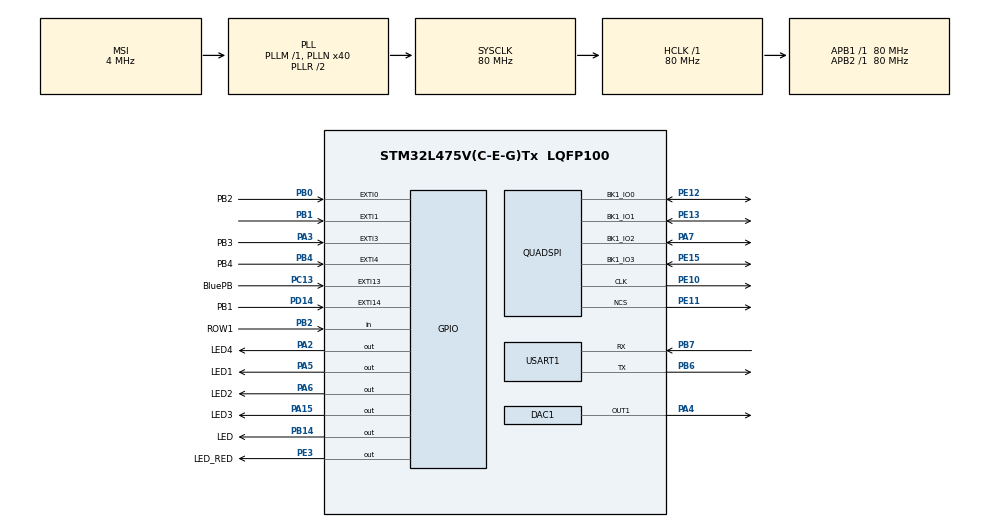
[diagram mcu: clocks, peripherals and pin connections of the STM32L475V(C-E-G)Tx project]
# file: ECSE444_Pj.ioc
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DAC1.DAC_Trigger-DAC_OUT1=DAC_TRIGGER_T2_TRGO
Dma.DAC_CH1.0.Direction=DMA_MEMORY_TO_PERIPH
Dma.DAC_CH1.0.Instance=DMA1_Channel3
Dma.DAC_CH1.0.MemDataAlignment=DMA_MDATAALIGN_BYTE
Dma.DAC_CH1.0.MemInc=DMA_MINC_ENABLE
Dma.DAC_CH1.0.Mode=DMA_CIRCULAR
Dma.DAC_CH1.0.PeriphDataAlignment=DMA_PDATAALIGN_BYTE
Dma.DAC_CH1.0.PeriphInc=DMA_PINC_DISABLE
Dma.DAC_CH1.0.Priority=DMA_PRIORITY_LOW
Dma.Request0=DAC_CH1
FREERTOS.Tasks01=defaultTask,0,128,StartDefaultTask,Default,NULL,Dynamic,NULL,NULL
Mcu.Family=STM32L4
Mcu.Name=STM32L475V(C-E-G)Tx
Mcu.Package=LQFP100
NVIC.DMA1_Channel3_IRQn=true\:5\:0\:false\:false\:true\:true\:false\:true
NVIC.EXTI15_10_IRQn=true\:5\:0\:false\:false\:true\:true\:true\:true
NVIC.PriorityGroup=NVIC_PRIORITYGROUP_4
NVIC.TIM1_TRG_COM_TIM17_IRQn=true\:15\:0\:false\:false\:true\:false\:false\:true
NVIC.TimeBase=TIM1_TRG_COM_TIM17_IRQn
NVIC.TimeBaseIP=TIM17
PA13\ (JTMS-SWDIO).Signal=SYS_JTMS-SWDIO
PA15\ (JTDI).GPIO_Label=LED3
PA15\ (JTDI).Signal=GPIO_Output
PA2.GPIO_Label=LED4
PA2.Signal=GPIO_Output
PA3.GPIO_Label=PB3
PA3.Signal=GPXTI3
PA4.Signal=COMP_DAC11_group
PA5.GPIO_Label=LED1
PA5.Signal=GPIO_Output
PA6.GPIO_Label=LED2
PA6.Signal=GPIO_Output
PA7.Mode=Single Bank
PA7.Signal=QUADSPI_BK1_IO2
PB0.GPIO_Label=PB2
PB0.Signal=GPXTI0
PB1.Signal=GPXTI1
PB14.GPIO_Label=LED
PB14.Signal=GPIO_Output
PB2.GPIO_Label=ROW1
PB2.Signal=GPIO_Input
PB3\ (JTDO-TRACESWO).Signal=SYS_JTDO-SWO
PB4\ (NJTRST).GPIO_Label=PB4
PB4\ (NJTRST).Signal=GPXTI4
PB6.Mode=Asynchronous
PB6.Signal=USART1_TX
PB7.Mode=Asynchronous
PB7.Signal=USART1_RX
PC13.GPIO_Label=BluePB
PC13.Signal=GPXTI13
PD14.GPIO_Label=PB1
PD14.Signal=GPXTI14
PE10.Mode=Single Bank
PE10.Signal=QUADSPI_CLK
PE11.Mode=Single Bank
PE11.Signal=QUADSPI_NCS
PE12.Mode=Single Bank
PE12.Signal=QUADSPI_BK1_IO0
PE13.Mode=Single Bank
PE13.Signal=QUADSPI_BK1_IO1
PE15.Mode=Single Bank
PE15.Signal=QUADSPI_BK1_IO3
PE3.GPIO_Label=LED_RED
PE3.Signal=GPIO_Output
ProjectManager.HeapSize=0x200
ProjectManager.StackSize=0x400
ProjectManager.TargetToolchain=STM32CubeIDE
RCC.ADCFreq_Value=48000000
RCC.AHBFreq_Value=80000000
RCC.APB1Freq_Value=80000000
RCC.APB1TimFreq_Value=80000000
RCC.APB2Freq_Value=80000000
RCC.APB2TimFreq_Value=80000000
RCC.CortexFreq_Value=80000000
RCC.HCLKFreq_Value=80000000
RCC.HSE_VALUE=8000000
RCC.HSI_VALUE=16000000
RCC.LSE_VALUE=32768
RCC.MSI_VALUE=4000000
RCC.PLLN=40
RCC.PLLSAI1N=24
RCC.SYSCLKFreq_VALUE=80000000
RCC.SYSCLKSource=RCC_SYSCLKSOURCE_PLLCLK
RCC.USBFreq_Value=48000000
RCC.VCOOutputFreq_Value=160000000
SH.COMP_DAC11_group.0=DAC1_OUT1,DAC_OUT1
TIM2.Period=1814
TIM2.TIM_MasterOutputTrigger=TIM_TRGO_UPDATE
USART1.VirtualMode-Asynchronous=VM_ASYNC
VP_FREERTOS_VS_CMSIS_V1.Mode=CMSIS_V1
VP_SYS_VS_tim17.Mode=TIM17
VP_TIM2_VS_ClockSourceINT.Mode=Internal
board=B-L475E-IOT01A1

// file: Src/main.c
/* USER CODE BEGIN Header */
/**
  ******************************************************************************
  * @file           : main.c
  * @brief          : Main program body
  ******************************************************************************
  * @attention
  *
  * <h2><center>&copy; Copyright (c) 2021 STMicroelectronics.
  * All rights reserved.</center></h2>
  *
  * This software component is licensed by ST under BSD 3-Clause license,
  * the "License"; You may not use this file except in compliance with the
  * License. You may obtain a copy of the License at:
  *                        opensource.org/licenses/BSD-3-Clause
  *
  ******************************************************************************
  */
/* USER CODE END Header */
#include "main.h"
#include "cmsis_os.h"

/* USER CODE BEGIN Includes */
#include "cmsis_os.h"
#define ARM_MATH_CM4
#include "arm_math.h"
#include "stm32l475e_iot01_qspi.h"
/* USER CODE END Includes */

DAC_HandleTypeDef hdac1;
DMA_HandleTypeDef hdma_dac_ch1;

QSPI_HandleTypeDef hqspi;

TIM_HandleTypeDef htim2;

UART_HandleTypeDef huart1;

osThreadId defaultTaskHandle;
/* USER CODE BEGIN PV */
osThreadId TransmitTaskHandle;
osThreadId SystemControllerHandle;
void button_pressed_task(void);
void control(void);
/* USER CODE END PV */

void SystemClock_Config(void);
static void MX_GPIO_Init(void);
static void MX_TIM2_Init(void);
static void MX_USART1_UART_Init(void);
static void MX_DMA_Init(void);
static void MX_DAC1_Init(void);
static void MX_QUADSPI_Init(void);
void StartDefaultTask(void const * argument);

/* USER CODE BEGIN 0 */
#define pi 3.14159265
uint8_t play[22050] = {0};
uint8_t empty[22050] = {0};
int LED_0_status = 0;
int LED_1_status = 0;
int LED_2_status = 0;
int LED_3_status = 0;
int LED_4_status = 0;
//int DAC_status = 0;
int isDelaying = 1;//Control DAC
int isStop = 1;
int isPause = 0;
int score = 0;
int time_counter = 0;
int difficulty = 6;

char buffer[100] = {0};
char tBuff0[20];
char tBuff1[20];

//Tone 1 C6 1046.5 Hz
	uint8_t C6[42];
void get_C6(){
	for(int i = 0; i < 42; i++){
		C6[i] =  0.33*(1 + arm_sin_f32(2*pi*i/42))*256;
	}
}

//Tone 2 E6 1318.5 Hz
	uint8_t E6[34];
void get_E6(){
	for(int i = 0; i < 34; i++){
		E6[i] =  0.33*(1 + arm_sin_f32(2*pi*i/34))*256;
	}
}

//Tone 3 G6 1568.0 Hz
	uint8_t G6[28];
void get_G6(){
	for(int i = 0; i < 28; i++){
		G6[i] =  0.33*(1 + arm_sin_f32(2*pi*i/28))*256;
	}
}

//Tone 4 A6 1760.0 Hz

	uint8_t A6[25];
void get_A6(){
	for(int i = 0; i < 25; i++){
		A6[i] =  0.33*(1 + arm_sin_f32(2*pi*i/25))*256;
	}
}

//Tone 5 B6 1975.53 Hz
	uint8_t B6[22];
void get_B6(){
	for(int i = 0; i < 22; i++){
		B6[i] =  0.33*(1 + arm_sin_f32(2*pi*i/22))*256;
	}
}

//Tone 6 B5 987.78 Hz
	uint8_t B5[45];
void get_B5(){
	for(int i = 0; i < 45; i++){
		B5[i] =  0.33*(1 + arm_sin_f32(2*pi*i/45))*256;
	}
}

void printWelcome(){

	 sprintf(buffer, "\033[9A");
	 HAL_UART_Transmit(&huart1, (uint8_t *) buffer, (uint16_t) strlen(buffer), 30000);
	 memset(buffer, 0, strlen(buffer));

	  sprintf(buffer, "         Welcome to our game! \r \n");
	  HAL_UART_Transmit(&huart1, (uint8_t *) buffer, (uint16_t) strlen(buffer), 30000);
	  memset(buffer, 0, strlen(buffer));

	  sprintf(buffer, "------------------------------------ \r \n");
	  HAL_UART_Transmit(&huart1, (uint8_t *) buffer, (uint16_t) strlen(buffer), 30000);
	  memset(buffer, 0, strlen(buffer));

	  sprintf(buffer, "|                                  | \r \n");
	  HAL_UART_Transmit(&huart1, (uint8_t *) buffer, (uint16_t) strlen(buffer), 30000);
	  memset(buffer, 0, strlen(buffer));

	  sprintf(buffer, "|       Press blue button          | \r \n");
	  HAL_UART_Transmit(&huart1, (uint8_t *) buffer, (uint16_t) strlen(buffer), 30000);
	  memset(buffer, 0, strlen(buffer));

	  sprintf(buffer, "|        to get started!           | \r \n");
	  HAL_UART_Transmit(&huart1, (uint8_t *) buffer, (uint16_t) strlen(buffer), 30000);
	  memset(buffer, 0, strlen(buffer));

	  sprintf(buffer, "|                                  | \r \n");
	  HAL_UART_Transmit(&huart1, (uint8_t *) buffer, (uint16_t) strlen(buffer), 30000);
	  memset(buffer, 0, strlen(buffer));

	  sprintf(buffer, "|      Difficulty is %d 	    | \r \n",difficulty);
	  HAL_UART_Transmit(&huart1, (uint8_t *) buffer, (uint16_t) strlen(buffer), 30000);
	  memset(buffer, 0, strlen(buffer));

	  sprintf(buffer, "------------------------------------ \r \n");
	  HAL_UART_Transmit(&huart1, (uint8_t *) buffer, (uint16_t) strlen(buffer), 30000);
	  memset(buffer, 0, strlen(buffer));

		 sprintf(buffer, "\033[9A");
		 HAL_UART_Transmit(&huart1, (uint8_t *) buffer, (uint16_t) strlen(buffer), 30000);
		 memset(buffer, 0, strlen(buffer));
}

void printFailed(){

	 sprintf(buffer, "\033[2J\033[9A");
	 HAL_UART_Transmit(&huart1, (uint8_t *) buffer, (uint16_t) strlen(buffer), 30000);
	 memset(buffer, 0, strlen(buffer));

	  sprintf(buffer, "           You Failed !!!            \r \n");
	  HAL_UART_Transmit(&huart1, (uint8_t *) buffer, (uint16_t) strlen(buffer), 30000);
	  memset(buffer, 0, strlen(buffer));

	  sprintf(buffer, "------------------------------------ \r \n");
	  HAL_UART_Transmit(&huart1, (uint8_t *) buffer, (uint16_t) strlen(buffer), 30000);
	  memset(buffer, 0, strlen(buffer));

	  sprintf(buffer, "|                                  | \r \n");
	  HAL_UART_Transmit(&huart1, (uint8_t *) buffer, (uint16_t) strlen(buffer), 30000);
	  memset(buffer, 0, strlen(buffer));

	  sprintf(buffer, "|           Time is up!            | \r \n");
	  HAL_UART_Transmit(&huart1, (uint8_t *) buffer, (uint16_t) strlen(buffer), 30000);
	  memset(buffer, 0, strlen(buffer));

	  sprintf(buffer, "|          Your score is %d .       | \r \n",score);
	  HAL_UART_Transmit(&huart1, (uint8_t *) buffer, (uint16_t) strlen(buffer), 30000);
	  memset(buffer, 0, strlen(buffer));

	  sprintf(buffer, "|  Press blue button to continue.  | \r \n");
	  HAL_UART_Transmit(&huart1, (uint8_t *) buffer, (uint16_t) strlen(buffer), 30000);
	  memset(buffer, 0, strlen(buffer));

	  sprintf(buffer, "|      Difficulty is %d 	    | \r \n",difficulty);
	  HAL_UART_Transmit(&huart1, (uint8_t *) buffer, (uint16_t) strlen(buffer), 30000);
	  memset(buffer, 0, strlen(buffer));

	  sprintf(buffer, "------------------------------------ \r \n");
	  HAL_UART_Transmit(&huart1, (uint8_t *) buffer, (uint16_t) strlen(buffer), 30000);
	  memset(buffer, 0, strlen(buffer));
}

void printSuccess(){

	 sprintf(buffer, "\033[2J\033[9A");
	 HAL_UART_Transmit(&huart1, (uint8_t *) buffer, (uint16_t) strlen(buffer), 30000);
	 memset(buffer, 0, strlen(buffer));

	  sprintf(buffer, "              You Won !!!            \r \n");
	  HAL_UART_Transmit(&huart1, (uint8_t *) buffer, (uint16_t) strlen(buffer), 30000);
	  memset(buffer, 0, strlen(buffer));

	  sprintf(buffer, "------------------------------------ \r \n");
	  HAL_UART_Transmit(&huart1, (uint8_t *) buffer, (uint16_t) strlen(buffer), 30000);
	  memset(buffer, 0, strlen(buffer));

	  sprintf(buffer, "|                                  | \r \n");
	  HAL_UART_Transmit(&huart1, (uint8_t *) buffer, (uint16_t) strlen(buffer), 30000);
	  memset(buffer, 0, strlen(buffer));

	  sprintf(buffer, "|        Congratuations!           | \r \n");
	  HAL_UART_Transmit(&huart1, (uint8_t *) buffer, (uint16_t) strlen(buffer), 30000);
	  memset(buffer, 0, strlen(buffer));

	  sprintf(buffer, "|          Your score is %d .       | \r \n",score);
	  HAL_UART_Transmit(&huart1, (uint8_t *) buffer, (uint16_t) strlen(buffer), 30000);
	  memset(buffer, 0, strlen(buffer));

	  sprintf(buffer, "|  Press blue button to continue.  | \r \n");
	  HAL_UART_Transmit(&huart1, (uint8_t *) buffer, (uint16_t) strlen(buffer), 30000);
	  memset(buffer, 0, strlen(buffer));

	  sprintf(buffer, "|      Difficulty is %d 	    | \r \n",difficulty);
	  HAL_UART_Transmit(&huart1, (uint8_t *) buffer, (uint16_t) strlen(buffer), 30000);
	  memset(buffer, 0, strlen(buffer));

	  sprintf(buffer, "------------------------------------ \r \n");
	  HAL_UART_Transmit(&huart1, (uint8_t *) buffer, (uint16_t) strlen(buffer), 30000);
	  memset(buffer, 0, strlen(buffer));
}

void printPause(){

	 sprintf(buffer, "\033[2J\033[9A");
	 HAL_UART_Transmit(&huart1, (uint8_t *) buffer, (uint16_t) strlen(buffer), 30000);
	 memset(buffer, 0, strlen(buffer));

	  sprintf(buffer, "         Whac The Mole!!!            \r \n");
	  HAL_UART_Transmit(&huart1, (uint8_t *) buffer, (uint16_t) strlen(buffer), 30000);
	  memset(buffer, 0, strlen(buffer));

	  sprintf(buffer, "------------------------------------ \r \n");
	  HAL_UART_Transmit(&huart1, (uint8_t *) buffer, (uint16_t) strlen(buffer), 30000);
	  memset(buffer, 0, strlen(buffer));

	  sprintf(buffer, "|                                  | \r \n");
	  HAL_UART_Transmit(&huart1, (uint8_t *) buffer, (uint16_t) strlen(buffer), 30000);
	  memset(buffer, 0, strlen(buffer));

	  sprintf(buffer, "|   The game is paused currently.  | \r \n");
	  HAL_UART_Transmit(&huart1, (uint8_t *) buffer, (uint16_t) strlen(buffer), 30000);
	  memset(buffer, 0, strlen(buffer));

	  sprintf(buffer, "|                                  | \r \n");
	  HAL_UART_Transmit(&huart1, (uint8_t *) buffer, (uint16_t) strlen(buffer), 30000);
	  memset(buffer, 0, strlen(buffer));

	  sprintf(buffer, "|  Press blue button to continue.  | \r \n");
	  HAL_UART_Transmit(&huart1, (uint8_t *) buffer, (uint16_t) strlen(buffer), 30000);
	  memset(buffer, 0, strlen(buffer));

	  sprintf(buffer, "|                                  | \r \n");
	  HAL_UART_Transmit(&huart1, (uint8_t *) buffer, (uint16_t) strlen(buffer), 30000);
	  memset(buffer, 0, strlen(buffer));

	  sprintf(buffer, "------------------------------------ \r \n");
	  HAL_UART_Transmit(&huart1, (uint8_t *) buffer, (uint16_t) strlen(buffer), 30000);
	  memset(buffer, 0, strlen(buffer));
}

void refreshAndPrint(){

	 sprintf(buffer, "\033[2J\033[9A");
	 HAL_UART_Transmit(&huart1, (uint8_t *) buffer, (uint16_t) strlen(buffer), 30000);
	 memset(buffer, 0, strlen(buffer));

	  sprintf(buffer, "         Whac The Mole!!!            \r \n");
	  HAL_UART_Transmit(&huart1, (uint8_t *) buffer, (uint16_t) strlen(buffer), 30000);
	  memset(buffer, 0, strlen(buffer));

	  sprintf(buffer, "------------------------------------ \r \n");
	  HAL_UART_Transmit(&huart1, (uint8_t *) buffer, (uint16_t) strlen(buffer), 30000);
	  memset(buffer, 0, strlen(buffer));

	  if(score < 10){
		  if(score,time_counter<10){
			  sprintf(buffer, "|Score: %d                Time: %d   | \r \n",score,time_counter);
		  }
		  else{
			  sprintf(buffer, "|Score: %d                Time: %d  | \r \n",score,time_counter);
		  }
	  }else{
		  if(score,time_counter<10){
			  sprintf(buffer, "|Score: %d               Time: %d   | \r \n",score,time_counter);
		  }
		  else{
			  sprintf(buffer, "|Score: %d               Time: %d  | \r \n",score,time_counter);
		  }
	  }

	  HAL_UART_Transmit(&huart1, (uint8_t *) buffer, (uint16_t) strlen(buffer), 30000);
	  memset(buffer, 0, strlen(buffer));

	  sprintf(buffer, "|   ____    ____    ____    ____   | \r \n");
	  HAL_UART_Transmit(&huart1, (uint8_t *) buffer, (uint16_t) strlen(buffer), 30000);
	  memset(buffer, 0, strlen(buffer));

	  //if(LED_1_status = 0 && LED_2_status = 0 && LED_3_status = 0 && LED_4_status = 0)
	  sprintf(tBuff0, " |    | ");
	  sprintf(tBuff1, " | aa | ");
	  sprintf(buffer, "| ");

	  if(LED_1_status == 1) strcat(buffer, tBuff1);
	  else strcat(buffer, tBuff0);
	  if(LED_2_status == 1) strcat(buffer, tBuff1);
	  else strcat(buffer, tBuff0);
	  if(LED_3_status == 1) strcat(buffer, tBuff1);
	  else strcat(buffer, tBuff0);
	  if(LED_4_status == 1) strcat(buffer, tBuff1);
	  else strcat(buffer, tBuff0);

	  strcat(buffer, " | \r \n");

	  HAL_UART_Transmit(&huart1, (uint8_t *) buffer, (uint16_t) strlen(buffer), 30000);
	  memset(buffer, 0, strlen(buffer));

	  //sprintf(buffer, "|  |    |  |    |  |    |  |    |  | \r \n");
	  HAL_UART_Transmit(&huart1, (uint8_t *) buffer, (uint16_t) strlen(buffer), 30000);
	  memset(buffer, 0, strlen(buffer));

	  sprintf(buffer, "|  |    |  |    |  |    |  |    |  | \r \n");
	  HAL_UART_Transmit(&huart1, (uint8_t *) buffer, (uint16_t) strlen(buffer), 30000);
	  memset(buffer, 0, strlen(buffer));

	  sprintf(buffer, "|                                  | \r \n");
	  HAL_UART_Transmit(&huart1, (uint8_t *) buffer, (uint16_t) strlen(buffer), 30000);
	  memset(buffer, 0, strlen(buffer));

	  sprintf(buffer, "------------------------------------ \r \n");
	  HAL_UART_Transmit(&huart1, (uint8_t *) buffer, (uint16_t) strlen(buffer), 30000);
	  memset(buffer, 0, strlen(buffer));

}
/* USER CODE END 0 */

int main(void)
{

  /* MCU Configuration--------------------------------------------------------*/

  /* Reset of all peripherals, Initializes the Flash interface and the Systick. */
  HAL_Init();

  /* Configure the system clock */
  SystemClock_Config();

  /* Initialize all configured peripherals */
  MX_GPIO_Init();
  MX_DMA_Init();
  MX_DAC1_Init();
  MX_QUADSPI_Init();
  MX_TIM2_Init();
  MX_USART1_UART_Init();
  /* USER CODE BEGIN 2 */
  BSP_QSPI_Init();
  HAL_TIM_Base_Start_IT(&htim2);
  get_B5();
  get_C6();
  get_E6();
  get_G6();
  get_A6();
  get_B6();
  uint32_t addr = 0x000000;
  for(int i = 0; i < 3; i++){
	  if(BSP_QSPI_Erase_Block(addr + i * 0x010000) != QSPI_OK){
		  Error_Handler();
	  }
  }

  uint32_t tone_addr = 0x000000;
  uint32_t music_addr = 0x030000;
  uint32_t music2_addr = 0x050000;
  for(int i = 0; i < 490; i++){
	  if(BSP_QSPI_Write((uint8_t *)B5, tone_addr, 45) != QSPI_OK){
		  Error_Handler();
	  }
	  tone_addr += 45;
  }
  for(int i = 0; i < 525; i++){//22050 = 5*4096+6*256+2*16+2 = 0x005622;
	  if(BSP_QSPI_Write((uint8_t *)C6, tone_addr, 42) != QSPI_OK){
		  Error_Handler();
	  }
	  tone_addr += 42;
  }
  for(int i = 0; i < 648; i++){//0x00AC44;
	  if(BSP_QSPI_Write((uint8_t *)E6, tone_addr, 34) != QSPI_OK){
		  Error_Handler();
	  }
	  tone_addr += 34;
  }
  tone_addr = 0x010266;
  for(int i = 0; i < 787; i++){
	  if(BSP_QSPI_Write((uint8_t *)G6, tone_addr, 28) != QSPI_OK){
		  Error_Handler();
	  }
	  tone_addr += 28;
  }
  tone_addr = 0x015888;
  for(int i = 0; i < 882; i++){
	  if(BSP_QSPI_Write((uint8_t *)A6, tone_addr, 25) != QSPI_OK){
		  Error_Handler();
	  }
	  tone_addr += 25;
  }
  for(int i = 0; i < 1002; i++){
	  if(BSP_QSPI_Write((uint8_t *)B6, tone_addr, 22) != QSPI_OK){
		  Error_Handler();
	  }
	  tone_addr += 22;
  }
////////////////////////
  //////////////
  ///////////
  for(int i = 0; i < 78; i++){
	  if(BSP_QSPI_Write((uint8_t *)G6, music_addr, 28) != QSPI_OK){
		  Error_Handler();
	  }
	  music_addr += 28;
  }
  for(int i = 0; i < 88; i++){
	  if(BSP_QSPI_Write((uint8_t *)A6, music_addr, 25) != QSPI_OK){
		  Error_Handler();
	  }
	  music_addr += 25;
  }
  for(int i = 0; i < 49; i++){
	  if(BSP_QSPI_Write((uint8_t *)B5, music_addr, 45) != QSPI_OK){
		  Error_Handler();
	  }
	  music_addr += 45;
  }
  for(int i = 0; i < 49; i++){
	  if(BSP_QSPI_Write((uint8_t *)B5, music_addr, 45) != QSPI_OK){
		  Error_Handler();
	  }
	  music_addr += 45;
  }
  for(int i = 0; i < 52; i++){//22050 = 5*4096+6*256+2*16+2 = 0x005622;
	  if(BSP_QSPI_Write((uint8_t *)C6, music_addr, 42) != QSPI_OK){
		  Error_Handler();
	  }
	  music_addr += 42;
  }
  for(int i = 0; i < 52; i++){//22050 = 5*4096+6*256+2*16+2 = 0x005622;
	  if(BSP_QSPI_Write((uint8_t *)C6, music_addr, 42) != QSPI_OK){
		  Error_Handler();
	  }
	  music_addr += 42;
  }
  for(int i = 0; i < 49; i++){
	  if(BSP_QSPI_Write((uint8_t *)B5, music_addr, 45) != QSPI_OK){
		  Error_Handler();
	  }
	  music_addr += 45;
  }
  for(int i = 0; i < 49; i++){
	  if(BSP_QSPI_Write((uint8_t *)B5, music_addr, 45) != QSPI_OK){
		  Error_Handler();
	  }
	  music_addr += 45;
  }
  for(int i = 0; i < 52; i++){//22050 = 5*4096+6*256+2*16+2 = 0x005622;
	  if(BSP_QSPI_Write((uint8_t *)C6, music_addr, 42) != QSPI_OK){
		  Error_Handler();
	  }
	  music_addr += 42;
  }
  for(int i = 0; i < 52; i++){//22050 = 5*4096+6*256+2*16+2 = 0x005622;
	  if(BSP_QSPI_Write((uint8_t *)C6, music_addr, 42) != QSPI_OK){
		  Error_Handler();
	  }
	  music_addr += 42;
  }

/////222////

 ///222///
  for(int i = 0; i < 78; i++){
	  if(BSP_QSPI_Write((uint8_t *)G6, music2_addr, 28) != QSPI_OK){
		  Error_Handler();
	  }
	  music2_addr += 28;
  }
  for(int i = 0; i < 88; i++){
	  if(BSP_QSPI_Write((uint8_t *)A6, music2_addr, 25) != QSPI_OK){
		  Error_Handler();
	  }
	  music2_addr += 25;
  }
  for(int i = 0; i < 49; i++){
	  if(BSP_QSPI_Write((uint8_t *)B5, music2_addr, 45) != QSPI_OK){
		  Error_Handler();
	  }
	  music2_addr += 45;
  }
  for(int i = 0; i < 49; i++){
	  if(BSP_QSPI_Write((uint8_t *)B5, music2_addr, 45) != QSPI_OK){
		  Error_Handler();
	  }
	  music2_addr += 45;
  }
  for(int i = 0; i < 52; i++){//22050 = 5*4096+6*256+2*16+2 = 0x005622;
	  if(BSP_QSPI_Write((uint8_t *)C6, music2_addr, 42) != QSPI_OK){
		  Error_Handler();
	  }
	  music2_addr += 42;
  }
  for(int i = 0; i < 52; i++){//22050 = 5*4096+6*256+2*16+2 = 0x005622;
	  if(BSP_QSPI_Write((uint8_t *)C6, music2_addr, 42) != QSPI_OK){
		  Error_Handler();
	  }
	  music2_addr += 42;
  }
  for(int i = 0; i < 49; i++){
	  if(BSP_QSPI_Write((uint8_t *)B5, music2_addr, 45) != QSPI_OK){
		  Error_Handler();
	  }
	  music2_addr += 45;
  }
  for(int i = 0; i < 49; i++){
	  if(BSP_QSPI_Write((uint8_t *)B5, music2_addr, 45) != QSPI_OK){
		  Error_Handler();
	  }
	  music2_addr += 45;
  }
  for(int i = 0; i < 88; i++){
	  if(BSP_QSPI_Write((uint8_t *)A6, music2_addr, 25) != QSPI_OK){
		  Error_Handler();
	  }
	  music2_addr += 25;
  }
  for(int i = 0; i < 100; i++){
	  if(BSP_QSPI_Write((uint8_t *)B6, music2_addr, 22) != QSPI_OK){
		  Error_Handler();
	  }
	  music2_addr += 22;
  }
  //Read the data
  if(BSP_QSPI_Read((uint8_t *)play, 0x030000, 22050) != QSPI_OK){
	  Error_Handler();
  }
  HAL_DAC_Start_DMA(&hdac1, DAC_CHANNEL_1, play, 22050, DAC_ALIGN_8B_R);
  printWelcome();
  /* USER CODE END 2 */

  /* Create the thread(s) */
  /* definition and creation of defaultTask */
  osThreadDef(defaultTask, StartDefaultTask, osPriorityNormal, 0, 128);
  defaultTaskHandle = osThreadCreate(osThread(defaultTask), NULL);

  /* USER CODE BEGIN RTOS_THREADS */
  /* add threads, ... */
  osThreadDef(SystemController, control, osPriorityHigh, 0, 128);
  SystemControllerHandle = osThreadCreate(osThread(SystemController), NULL);

  osThreadDef(TransmitTask, button_pressed_task, osPriorityIdle, 0, 128);
  TransmitTaskHandle = osThreadCreate(osThread(TransmitTask), NULL);

  //osThreadDef(defaultTask, button_pressed_task, osPriorityNormal, 0, 128);
  //defaultTaskHandle = osThreadCreate(osThread(defaultTask), NULL);
  /* USER CODE END RTOS_THREADS */

  /* Start scheduler */
  osKernelStart();

  /* We should never get here as control is now taken by the scheduler */
  /* Infinite loop */
  while (1)
  {

  }
}

void SystemClock_Config(void)
{
  RCC_OscInitTypeDef RCC_OscInitStruct = {0};
  RCC_ClkInitTypeDef RCC_ClkInitStruct = {0};

  /** Configure the main internal regulator output voltage
  */
  if (HAL_PWREx_ControlVoltageScaling(PWR_REGULATOR_VOLTAGE_SCALE1) != HAL_OK)
  {
    Error_Handler();
  }
  /** Initializes the RCC Oscillators according to the specified parameters
  * in the RCC_OscInitTypeDef structure.
  */
  RCC_OscInitStruct.OscillatorType = RCC_OSCILLATORTYPE_MSI;
  RCC_OscInitStruct.MSIState = RCC_MSI_ON;
  RCC_OscInitStruct.MSICalibrationValue = 0;
  RCC_OscInitStruct.MSIClockRange = RCC_MSIRANGE_6;
  RCC_OscInitStruct.PLL.PLLState = RCC_PLL_ON;
  RCC_OscInitStruct.PLL.PLLSource = RCC_PLLSOURCE_MSI;
  RCC_OscInitStruct.PLL.PLLM = 1;
  RCC_OscInitStruct.PLL.PLLN = 40;
  RCC_OscInitStruct.PLL.PLLP = RCC_PLLP_DIV7;
  RCC_OscInitStruct.PLL.PLLQ = RCC_PLLQ_DIV2;
  RCC_OscInitStruct.PLL.PLLR = RCC_PLLR_DIV2;
  if (HAL_RCC_OscConfig(&RCC_OscInitStruct) != HAL_OK)
  {
    Error_Handler();
  }
  /** Initializes the CPU, AHB and APB buses clocks
  */
  RCC_ClkInitStruct.ClockType = RCC_CLOCKTYPE_HCLK|RCC_CLOCKTYPE_SYSCLK
                              |RCC_CLOCKTYPE_PCLK1|RCC_CLOCKTYPE_PCLK2;
  RCC_ClkInitStruct.SYSCLKSource = RCC_SYSCLKSOURCE_PLLCLK;
  RCC_ClkInitStruct.AHBCLKDivider = RCC_SYSCLK_DIV1;
  RCC_ClkInitStruct.APB1CLKDivider = RCC_HCLK_DIV1;
  RCC_ClkInitStruct.APB2CLKDivider = RCC_HCLK_DIV1;

  if (HAL_RCC_ClockConfig(&RCC_ClkInitStruct, FLASH_LATENCY_4) != HAL_OK)
  {
    Error_Handler();
  }
}

static void MX_DAC1_Init(void)
{

  DAC_ChannelConfTypeDef sConfig = {0};

  /** DAC Initialization
  */
  hdac1.Instance = DAC1;
  if (HAL_DAC_Init(&hdac1) != HAL_OK)
  {
    Error_Handler();
  }
  /** DAC channel OUT1 config
  */
  sConfig.DAC_SampleAndHold = DAC_SAMPLEANDHOLD_DISABLE;
  sConfig.DAC_Trigger = DAC_TRIGGER_T2_TRGO;
  sConfig.DAC_OutputBuffer = DAC_OUTPUTBUFFER_ENABLE;
  sConfig.DAC_ConnectOnChipPeripheral = DAC_CHIPCONNECT_DISABLE;
  sConfig.DAC_UserTrimming = DAC_TRIMMING_FACTORY;
  if (HAL_DAC_ConfigChannel(&hdac1, &sConfig, DAC_CHANNEL_1) != HAL_OK)
  {
    Error_Handler();
  }

}

static void MX_QUADSPI_Init(void)
{

  /* QUADSPI parameter configuration*/
  hqspi.Instance = QUADSPI;
  hqspi.Init.ClockPrescaler = 255;
  hqspi.Init.FifoThreshold = 1;
  hqspi.Init.SampleShifting = QSPI_SAMPLE_SHIFTING_NONE;
  hqspi.Init.FlashSize = 1;
  hqspi.Init.ChipSelectHighTime = QSPI_CS_HIGH_TIME_1_CYCLE;
  hqspi.Init.ClockMode = QSPI_CLOCK_MODE_0;
  if (HAL_QSPI_Init(&hqspi) != HAL_OK)
  {
    Error_Handler();
  }

}

static void MX_TIM2_Init(void)
{

  TIM_ClockConfigTypeDef sClockSourceConfig = {0};
  TIM_MasterConfigTypeDef sMasterConfig = {0};

  htim2.Instance = TIM2;
  htim2.Init.Prescaler = 0;
  htim2.Init.CounterMode = TIM_COUNTERMODE_UP;
  htim2.Init.Period = 1814;
  htim2.Init.ClockDivision = TIM_CLOCKDIVISION_DIV1;
  htim2.Init.AutoReloadPreload = TIM_AUTORELOAD_PRELOAD_DISABLE;
  if (HAL_TIM_Base_Init(&htim2) != HAL_OK)
  {
    Error_Handler();
  }
  sClockSourceConfig.ClockSource = TIM_CLOCKSOURCE_INTERNAL;
  if (HAL_TIM_ConfigClockSource(&htim2, &sClockSourceConfig) != HAL_OK)
  {
    Error_Handler();
  }
  sMasterConfig.MasterOutputTrigger = TIM_TRGO_UPDATE;
  sMasterConfig.MasterSlaveMode = TIM_MASTERSLAVEMODE_DISABLE;
  if (HAL_TIMEx_MasterConfigSynchronization(&htim2, &sMasterConfig) != HAL_OK)
  {
    Error_Handler();
  }

}

static void MX_USART1_UART_Init(void)
{

  huart1.Instance = USART1;
  huart1.Init.BaudRate = 115200;
  huart1.Init.WordLength = UART_WORDLENGTH_8B;
  huart1.Init.StopBits = UART_STOPBITS_1;
  huart1.Init.Parity = UART_PARITY_NONE;
  huart1.Init.Mode = UART_MODE_TX_RX;
  huart1.Init.HwFlowCtl = UART_HWCONTROL_NONE;
  huart1.Init.OverSampling = UART_OVERSAMPLING_16;
  huart1.Init.OneBitSampling = UART_ONE_BIT_SAMPLE_DISABLE;
  huart1.AdvancedInit.AdvFeatureInit = UART_ADVFEATURE_NO_INIT;
  if (HAL_UART_Init(&huart1) != HAL_OK)
  {
    Error_Handler();
  }

}

static void MX_DMA_Init(void)
{

  /* DMA controller clock enable */
  __HAL_RCC_DMA1_CLK_ENABLE();

  /* DMA interrupt init */
  /* DMA1_Channel3_IRQn interrupt configuration */
  HAL_NVIC_SetPriority(DMA1_Channel3_IRQn, 5, 0);
  HAL_NVIC_EnableIRQ(DMA1_Channel3_IRQn);

}

static void MX_GPIO_Init(void)
{
  GPIO_InitTypeDef GPIO_InitStruct = {0};

  /* GPIO Ports Clock Enable */
  __HAL_RCC_GPIOE_CLK_ENABLE();
  __HAL_RCC_GPIOC_CLK_ENABLE();
  __HAL_RCC_GPIOA_CLK_ENABLE();
  __HAL_RCC_GPIOB_CLK_ENABLE();
  __HAL_RCC_GPIOD_CLK_ENABLE();

  /*Configure GPIO pin Output Level */
  HAL_GPIO_WritePin(LED_RED_GPIO_Port, LED_RED_Pin, GPIO_PIN_RESET);

  /*Configure GPIO pin Output Level */
  HAL_GPIO_WritePin(GPIOA, LED4_Pin|LED1_Pin|LED2_Pin|LED3_Pin, GPIO_PIN_RESET);

  /*Configure GPIO pin Output Level */
  HAL_GPIO_WritePin(LED_GPIO_Port, LED_Pin, GPIO_PIN_RESET);

  /*Configure GPIO pin : LED_RED_Pin */
  GPIO_InitStruct.Pin = LED_RED_Pin;
  GPIO_InitStruct.Mode = GPIO_MODE_OUTPUT_PP;
  GPIO_InitStruct.Pull = GPIO_NOPULL;
  GPIO_InitStruct.Speed = GPIO_SPEED_FREQ_LOW;
  HAL_GPIO_Init(LED_RED_GPIO_Port, &GPIO_InitStruct);

  /*Configure GPIO pin : BluePB_Pin */
  GPIO_InitStruct.Pin = BluePB_Pin;
  GPIO_InitStruct.Mode = GPIO_MODE_IT_RISING;
  GPIO_InitStruct.Pull = GPIO_NOPULL;
  HAL_GPIO_Init(BluePB_GPIO_Port, &GPIO_InitStruct);

  /*Configure GPIO pins : LED4_Pin LED1_Pin LED2_Pin LED3_Pin */
  GPIO_InitStruct.Pin = LED4_Pin|LED1_Pin|LED2_Pin|LED3_Pin;
  GPIO_InitStruct.Mode = GPIO_MODE_OUTPUT_PP;
  GPIO_InitStruct.Pull = GPIO_NOPULL;
  GPIO_InitStruct.Speed = GPIO_SPEED_FREQ_LOW;
  HAL_GPIO_Init(GPIOA, &GPIO_InitStruct);

  /*Configure GPIO pin : PB3_Pin */
  GPIO_InitStruct.Pin = PB3_Pin;
  GPIO_InitStruct.Mode = GPIO_MODE_IT_RISING;
  GPIO_InitStruct.Pull = GPIO_NOPULL;
  HAL_GPIO_Init(PB3_GPIO_Port, &GPIO_InitStruct);

  /*Configure GPIO pins : PB2_Pin PB1 PB4_Pin */
  GPIO_InitStruct.Pin = PB2_Pin|GPIO_PIN_1|PB4_Pin;
  GPIO_InitStruct.Mode = GPIO_MODE_IT_RISING;
  GPIO_InitStruct.Pull = GPIO_NOPULL;
  HAL_GPIO_Init(GPIOB, &GPIO_InitStruct);

  /*Configure GPIO pin : ROW1_Pin */
  GPIO_InitStruct.Pin = ROW1_Pin;
  GPIO_InitStruct.Mode = GPIO_MODE_INPUT;
  GPIO_InitStruct.Pull = GPIO_NOPULL;
  HAL_GPIO_Init(ROW1_GPIO_Port, &GPIO_InitStruct);

  /*Configure GPIO pin : LED_Pin */
  GPIO_InitStruct.Pin = LED_Pin;
  GPIO_InitStruct.Mode = GPIO_MODE_OUTPUT_PP;
  GPIO_InitStruct.Pull = GPIO_NOPULL;
  GPIO_InitStruct.Speed = GPIO_SPEED_FREQ_LOW;
  HAL_GPIO_Init(LED_GPIO_Port, &GPIO_InitStruct);

  /*Configure GPIO pin : PB1_Pin */
  GPIO_InitStruct.Pin = PB1_Pin;
  GPIO_InitStruct.Mode = GPIO_MODE_IT_RISING;
  GPIO_InitStruct.Pull = GPIO_NOPULL;
  HAL_GPIO_Init(PB1_GPIO_Port, &GPIO_InitStruct);

  /* EXTI interrupt init*/
  HAL_NVIC_SetPriority(EXTI15_10_IRQn, 5, 0);
  HAL_NVIC_EnableIRQ(EXTI15_10_IRQn);

}

/* USER CODE BEGIN 4 */
void control(void){
	for(;;){
		osDelay(100);
		if(time_counter == 60){
			if(score >= difficulty){
				isStop = 1;
				isDelaying = 1;
				isPause = 1;
				printSuccess();
				HAL_Delay(500);
				time_counter = 0;
			}
			else{
				isStop = 1;
				isDelaying = 1;
				isPause = 1;
				printFailed();
				HAL_Delay(500);
				time_counter = 0;
			}
		}
		if(HAL_GPIO_ReadPin (BluePB_GPIO_Port, BluePB_Pin)==0){
			if(isStop==1){
				score = 0;
				isStop = 0;
				isPause = 0;
				isDelaying = 0;
				HAL_Delay(500);
			}
			else{
				if(isPause==0){
								isDelaying = 1;
								osThreadSuspend(TransmitTaskHandle);
								osThreadSuspend(defaultTaskHandle);
								isPause = 1;
								printPause();
								HAL_Delay(500);
								  if(BSP_QSPI_Read((uint8_t *)play, 0x050000, 22050) != QSPI_OK){
									  Error_Handler();
								  }
							 	HAL_DAC_Start_DMA(&hdac1, DAC_CHANNEL_1, play, 22050, DAC_ALIGN_8B_R);

							}
				else if(isPause==1){
					isDelaying = 0;
					osThreadResume(TransmitTaskHandle);
					osThreadResume(defaultTaskHandle);
					isPause = 0;
					HAL_Delay(500);
				}
			}
		}
		if( HAL_GPIO_ReadPin(PB2_GPIO_Port, PB2_Pin)==1){
			if(isStop==1){
				difficulty = difficulty + 1;
				if(difficulty>=20) difficulty = 12;
				printWelcome();
				HAL_Delay(500);
			}
		}
		if( HAL_GPIO_ReadPin(PB1_GPIO_Port, PB1_Pin)==1){
			if(isStop==1){
				difficulty = difficulty - 1;
				if(difficulty<=2) difficulty = 2;
				printWelcome();
				HAL_Delay(500);
			}
		}
	}
}
void button_pressed_task(void)
{
	  for(;;)
	  {
	    osDelay(100);
	if(HAL_GPIO_ReadPin (BluePB_GPIO_Port, BluePB_Pin)==0){
		//osThreadSuspend(TransmitTaskHandle);
			  /*if(HAL_GPIO_ReadPin (LED_GPIO_Port, LED_Pin)){
				  HAL_GPIO_WritePin(LED_RED_GPIO_Port, LED_RED_Pin, GPIO_PIN_RESET);
				  if(BSP_QSPI_Read((uint8_t *)play, 0x01AEAA, 22050) != QSPI_OK){
				  		Error_Handler();
				  }
				  HAL_DAC_Start_DMA(&hdac1, DAC_CHANNEL_1, play, 22050, DAC_ALIGN_8B_R);
				  HAL_GPIO_WritePin(LED_GPIO_Port, LED_Pin, GPIO_PIN_RESET);
				  LED_0_status = 0;
				  isDelaying = 1;
				  HAL_Delay(200);
				  isDelaying = 0;
				  HAL_GPIO_WritePin(LED_RED_GPIO_Port, LED_RED_Pin, GPIO_PIN_SET);
				  if(BSP_QSPI_Read((uint8_t *)play, 0x02AEAA, 22050) != QSPI_OK){
				  			Error_Handler();
				  }
				  HAL_DAC_Start_DMA(&hdac1, DAC_CHANNEL_1, empty, 22050, DAC_ALIGN_8B_R);
				  score = score+1;
				  refreshAndPrint();
				  TransmitTaskHandle->
			  }*/
		  }
		  if( HAL_GPIO_ReadPin(PB1_GPIO_Port, PB1_Pin)==1){
			  if(HAL_GPIO_ReadPin (LED1_GPIO_Port, LED1_Pin)){
				  HAL_GPIO_WritePin(LED_RED_GPIO_Port, LED_RED_Pin, GPIO_PIN_RESET);
				  if(BSP_QSPI_Read((uint8_t *)play, 0x000000, 22050) != QSPI_OK){
					  Error_Handler();
				  }
			 	HAL_DAC_Start_DMA(&hdac1, DAC_CHANNEL_1, play, 22050, DAC_ALIGN_8B_R);
			 	HAL_GPIO_WritePin(LED1_GPIO_Port, LED1_Pin, GPIO_PIN_RESET);
			 	LED_1_status = 0;
			 	isDelaying = 1;
			 	HAL_Delay(200);
			 	isDelaying = 0;
			 	HAL_GPIO_WritePin(LED_RED_GPIO_Port, LED_RED_Pin, GPIO_PIN_SET);
				if(BSP_QSPI_Read((uint8_t *)play, 0x02AEAA, 22050) != QSPI_OK){
						 Error_Handler();
				}
				HAL_DAC_Start_DMA(&hdac1, DAC_CHANNEL_1, empty, 22050, DAC_ALIGN_8B_R);
				score = score+1;
				refreshAndPrint();
			  }
			  else score = score - 1;
		  }

		  if( HAL_GPIO_ReadPin(PB2_GPIO_Port, PB2_Pin)==1){
			  if(HAL_GPIO_ReadPin (LED2_GPIO_Port, LED2_Pin)){
				  	  	  HAL_GPIO_WritePin(LED_RED_GPIO_Port, LED_RED_Pin, GPIO_PIN_RESET);
						  if(BSP_QSPI_Read((uint8_t *)play, 0x005622, 22050) != QSPI_OK){
							  Error_Handler();
						  }
					 	  HAL_DAC_Start_DMA(&hdac1, DAC_CHANNEL_1, play, 22050, DAC_ALIGN_8B_R);
			 			  HAL_GPIO_WritePin(LED2_GPIO_Port, LED2_Pin, GPIO_PIN_RESET);
			 			  LED_2_status = 0;
			 			  isDelaying = 1;
			 			  HAL_Delay(200);
			 			  isDelaying = 0;
			 			  HAL_GPIO_WritePin(LED_RED_GPIO_Port, LED_RED_Pin, GPIO_PIN_SET);
			 			  if(BSP_QSPI_Read((uint8_t *)play, 0x02AEAA, 22050) != QSPI_OK){
			 				  Error_Handler();
			 			  }
			 			  HAL_DAC_Start_DMA(&hdac1, DAC_CHANNEL_1, empty, 22050, DAC_ALIGN_8B_R);
			 			 score = score+1;
			 			 refreshAndPrint();
			  }
			  else score = score - 1;
		  }

		  if( HAL_GPIO_ReadPin(PB3_GPIO_Port, PB3_Pin)==1){
			  if(HAL_GPIO_ReadPin (LED3_GPIO_Port, LED3_Pin)){
			 			  HAL_GPIO_WritePin(LED_RED_GPIO_Port, LED_RED_Pin, GPIO_PIN_RESET);
						  if(BSP_QSPI_Read((uint8_t *)play, 0x00AC44, 22050) != QSPI_OK){
							  Error_Handler();
						  }
					 	  HAL_DAC_Start_DMA(&hdac1, DAC_CHANNEL_1, play, 22050, DAC_ALIGN_8B_R);
			 			  HAL_GPIO_WritePin(LED3_GPIO_Port, LED3_Pin, GPIO_PIN_RESET);
			 			  LED_3_status = 0;
			 			  isDelaying = 1;
			 			  HAL_Delay(200);
			 			  isDelaying = 0;
			 			  HAL_GPIO_WritePin(LED_RED_GPIO_Port, LED_RED_Pin, GPIO_PIN_SET);
			 			  if(BSP_QSPI_Read((uint8_t *)play, 0x02AEAA, 22050) != QSPI_OK){
			 				  Error_Handler();
			 			  }
			 			  HAL_DAC_Start_DMA(&hdac1, DAC_CHANNEL_1, empty, 22050, DAC_ALIGN_8B_R);
			 			 score = score+1;
			 			 refreshAndPrint();
			  }
			  else score = score - 1;
		  }

		  if( HAL_GPIO_ReadPin(PB4_GPIO_Port, PB4_Pin)==1){
			  if(HAL_GPIO_ReadPin (LED4_GPIO_Port, LED4_Pin)){
			 			  HAL_GPIO_WritePin(LED_RED_GPIO_Port, LED_RED_Pin, GPIO_PIN_RESET);
						  if(BSP_QSPI_Read((uint8_t *)play, 0x015888, 22050) != QSPI_OK){
							  Error_Handler();
						  }
					 	  HAL_DAC_Start_DMA(&hdac1, DAC_CHANNEL_1, play, 22050, DAC_ALIGN_8B_R);
			 			  HAL_GPIO_WritePin(LED4_GPIO_Port, LED4_Pin, GPIO_PIN_RESET);
			 			  LED_4_status = 0;
			 			  isDelaying = 1;
			 			  HAL_Delay(200);
			 			  isDelaying = 0;
			 			  HAL_GPIO_WritePin(LED_RED_GPIO_Port, LED_RED_Pin, GPIO_PIN_SET);
			 			  if(BSP_QSPI_Read((uint8_t *)play, 0x02AEAA, 22050) != QSPI_OK){
			 				  Error_Handler();
			 			  }
			 			  HAL_DAC_Start_DMA(&hdac1, DAC_CHANNEL_1, empty, 22050, DAC_ALIGN_8B_R);
			 			 refreshAndPrint();
			 			score = score+1;
			  }
			  else score = score - 1;
		  }
	  }
}

int lower = 1;
int upper = 3;
int DAC_status = 0;

void HAL_DAC_ConvCpltCallbackCh1 (DAC_HandleTypeDef * hdac){
	if(isDelaying == 1) return;
	time_counter  = time_counter + 1;
	/*if(DAC_status == 1){
		if(BSP_QSPI_Read((uint8_t *)play, 0x02AEAA, 22050) != QSPI_OK){
					  Error_Handler();
		}
		HAL_DAC_Start_DMA(&hdac1, DAC_CHANNEL_1, empty, 22050, DAC_ALIGN_8B_R);
		DAC_status = 0;
	}*/
	int randomNumber0 = (rand() % (upper - lower + 1)) + lower;
	int randomNumber1 = (rand() % (upper - lower + 1)) + lower;
	int randomNumber2 = (rand() % (upper - lower + 1)) + lower;
	int randomNumber3 = (rand() % (upper - lower + 1)) + lower;
	int randomNumber4 = (rand() % (upper - lower + 1)) + lower;

	if(randomNumber0 % 3 == 0 && LED_0_status ==0 ){
		HAL_GPIO_WritePin(LED_GPIO_Port, LED_Pin, GPIO_PIN_SET);
		LED_0_status = 1;
	}
	else if(randomNumber0 % 3 == 0 && LED_0_status ==1 ){
			HAL_GPIO_WritePin(LED_GPIO_Port, LED_Pin, GPIO_PIN_RESET);
			LED_0_status = 0;
	}

	if(randomNumber1 % 3 == 0 && LED_0_status ==0 ){
			HAL_GPIO_WritePin(LED1_GPIO_Port, LED1_Pin,GPIO_PIN_SET);
			LED_1_status = 1;
	}
	else if(randomNumber1 % 3 == 0 && LED_0_status ==1 ){
			HAL_GPIO_WritePin(LED1_GPIO_Port, LED1_Pin, GPIO_PIN_RESET);
			LED_1_status = 0;
	}

	if(randomNumber2 % 3 == 0 && LED_0_status ==0 ){
			HAL_GPIO_WritePin(LED2_GPIO_Port, LED2_Pin, GPIO_PIN_SET);
			LED_2_status = 1;
	}
	else if(randomNumber2 % 3 == 0 && LED_0_status ==1 ){
			HAL_GPIO_WritePin(LED2_GPIO_Port, LED2_Pin, GPIO_PIN_RESET);
			LED_2_status = 0;
	}

	if(randomNumber3 % 3 == 0 && LED_0_status ==0 ){
			HAL_GPIO_WritePin(LED3_GPIO_Port, LED3_Pin, GPIO_PIN_SET);
			LED_3_status = 1;
	}
	else if(randomNumber3 % 3 == 0 && LED_0_status ==1 ){
			HAL_GPIO_WritePin(LED3_GPIO_Port, LED3_Pin, GPIO_PIN_RESET);
			LED_3_status = 0;
	}

	if(randomNumber4 % 3 == 0 && LED_0_status ==0 ){
			HAL_GPIO_WritePin(LED4_GPIO_Port, LED4_Pin, GPIO_PIN_SET);
			LED_4_status = 1;
	}
	else if(randomNumber4 % 3 == 0 && LED_0_status ==1 ){
			HAL_GPIO_WritePin(LED4_GPIO_Port, LED4_Pin, GPIO_PIN_RESET);
			LED_4_status = 0;
	}
	refreshAndPrint();
}
/* USER CODE END 4 */

void StartDefaultTask(void const * argument)
{
  for(;;)
  {
    osDelay(1);
  }
}

void HAL_TIM_PeriodElapsedCallback(TIM_HandleTypeDef *htim)
{
  if (htim->Instance == TIM17) {
    HAL_IncTick();
  }
}

void Error_Handler(void)
{
  __disable_irq();
  while (1)
  {
  }
}

/************************ (C) COPYRIGHT STMicroelectronics *****END OF FILE****/
